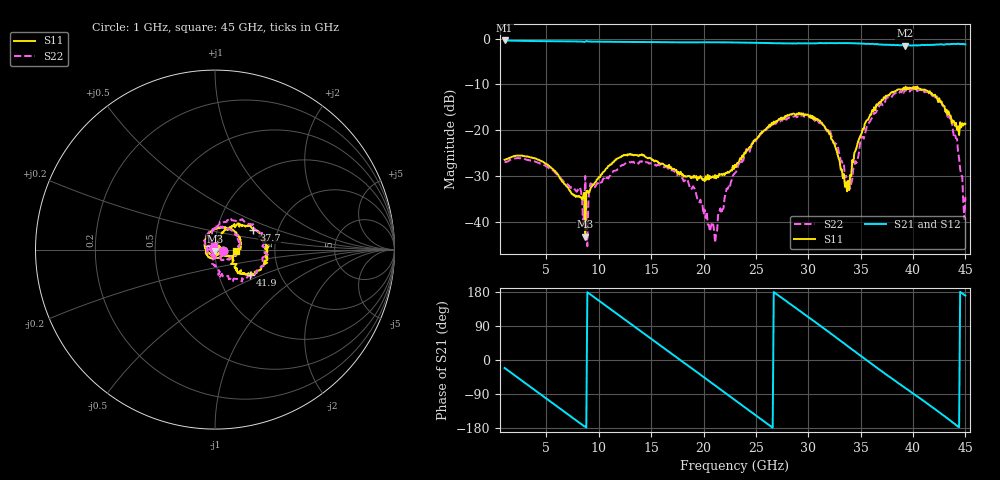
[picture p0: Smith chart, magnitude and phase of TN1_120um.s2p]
!Keysight Technologies,N5247B,MY61255062,A.19.80.06
!Date: Monday, May 18, 2026 12:10:52
!Correction: S11(Cdelta 2-Port  )
!S21(Cdelta 2-Port  )
!S12(Cdelta 2-Port  )
!S22(Cdelta 2-Port  )
!S2P File: Measurements: S11, S21, S12, S22:
# Hz S  dB  R 50
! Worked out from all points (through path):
!   441 points, 1 GHz to 45 GHz, reference 50 ohm
!   highest |S21| = -0.42 dB at 1 GHz (marker M1); lowest = -1.5 dB at 39.2 GHz (marker M2)
!   group delay of S21, straight-line fit = 56.1 ps
!   lowest |S11| = -43.1 dB at 8.7 GHz (marker M3), VSWR 1.01, Z = 50 - j0.697 ohm
!   |S11| at or under -10 dB: start of sweep to end of sweep
!   |S22| runs from -45.2 to -10.6 dB; largest |S21 - S12| = 0.018
!   S11 on the Smith chart (normalised r, x): 1 GHz: 1.10, -0.02; 37.7 GHz: 1.49, +0.34; 41.9 GHz: 1.41, -0.43; 45 GHz: 1.26, -0.02
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1e9  -26.41 -9.7  -0.42 -21.0  -0.42 -21.0  -26.81 -10.8
4.6e9  -26.80 -81.7  -0.57 -94.0  -0.57 -94.0  -27.45 -79.9
6.3e9  -30.48 -107.5  -0.60 -128.3  -0.60 -128.4  -30.22 -106.6
8.4e9  -34.98 -86.1  -0.66 -171.1  -0.67 -171.1  -35.07 -93.6
8.7e9  -43.13 -91.0  -0.68 -175.7  -0.68 -175.7  -29.93 86.8
9.3e9  -32.29 -75.6  -0.67 170.8  -0.67 170.8  -31.67 -102.0
1.25e10  -25.43 -119.7  -0.75 106.4  -0.75 106.4  -27.26 -137.6
1.57e10  -27.12 158.6  -0.78 41.7  -0.79 41.6  -27.57 153.4
1.83e10  -30.12 60.3  -0.84 -10.6  -0.84 -10.6  -30.68 85.7
2.11e10  -29.73 -63.6  -0.82 -67.2  -0.82 -67.3  -44.50 -51.4
2.3e10  -27.51 -154.9  -0.85 -105.9  -0.85 -106.0  -29.27 -168.9
2.5e10  -21.94 131.3  -0.93 -146.5  -0.93 -146.5  -22.37 137.1
2.67e10  -18.09 83.7  -1.00 179.3  -1.01 179.3  -18.61 94.1
3.04e10  -16.87 1.8  -1.06 105.4  -1.04 105.2  -17.84 8.1
3.21e10  -20.72 -26.3  -1.00 70.7  -0.99 70.8  -20.22 -34.5
3.37e10  -33.26 23.3  -1.00 38.1  -1.03 37.8  -31.64 -124.0
3.54e10  -18.53 64.5  -1.16 2.8  -1.14 2.8  -20.87 100.5
3.77e10  -12.44 26.8  -1.40 -43.3  -1.39 -43.4  -12.91 47.2
3.92e10  -11.03 3.6  -1.53 -72.5  -1.55 -72.4  -11.36 12.3
4.19e10  -12.36 -36.3  -1.42 -125.8  -1.39 -126.1  -12.54 -41.6
4.36e10  -16.81 -33.6  -1.19 -160.8  -1.16 -161.2  -17.01 -82.5
4.5e10  -18.61 -4.6  -1.28 169.8  -1.22 169.6  -34.55 106.7
